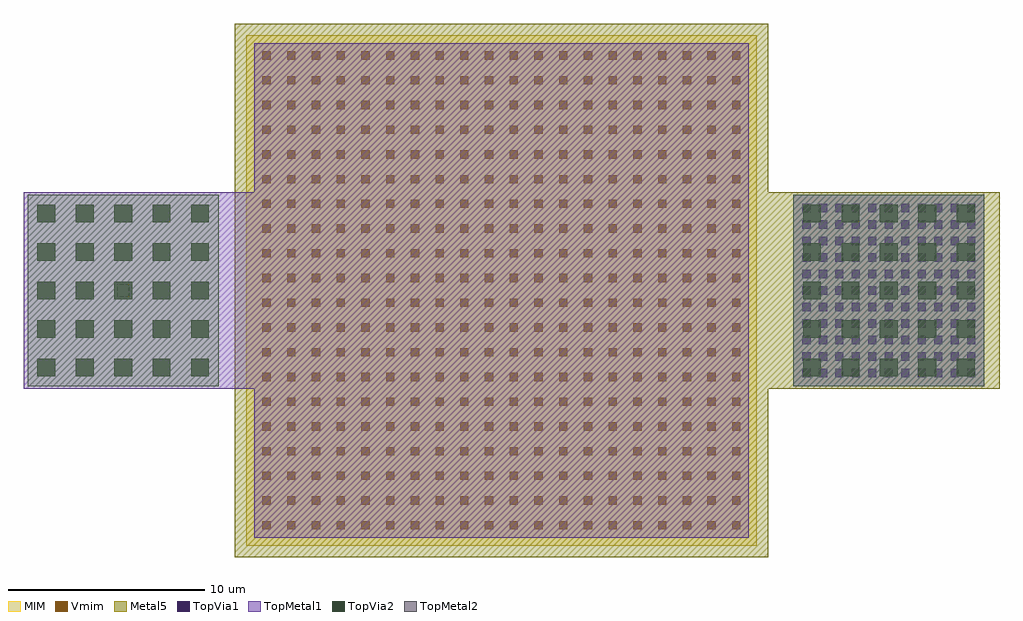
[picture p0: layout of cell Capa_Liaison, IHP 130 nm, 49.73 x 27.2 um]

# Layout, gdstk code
from math import pi, radians
import gdstk
lib = gdstk.Library(unit=1e-6, precision=1e-09)
def R(c, l, rs):  # rectangles x0, y0, x1, y1
    for r in rs: c.add(gdstk.rectangle(r[:2], r[2:], *l))
def A(c, l, x, y, w, h, nx, ny, dx, dy):  # array of equal rectangles
    R(c, l, [(x+i*dx, y+j*dy, x+i*dx+w, y+j*dy+h) for i in range(nx) for j in range(ny)])
MIM = (36, 0)
Metal5 = (67, 0)
TopVia1 = (125, 0)
TopMetal1 = (126, 0)
Vmim = (129, 0)
TopVia2 = (133, 0)
TopMetal2 = (134, 0)

via_stack_16 = lib.new_cell('via_stack$16')
R(via_stack_16, Metal5, [(-4.51,-4.51,4.51,4.51), (-0.145,-0.145,0.145,0.145)])
A(via_stack_16, TopVia1, -4.41, -4.41, 0.42, 0.42, 11, 11, 0.84, 0.84)
R(via_stack_16, TopMetal1, [(-4.87,-4.87,4.87,4.87), (-4.83,-4.83,4.83,4.83)])
A(via_stack_16, TopVia2, -4.37, -4.37, 0.9, 0.9, 5, 5, 1.96, 1.96)
R(via_stack_16, TopMetal2, [(-4.87,-4.87,4.87,4.87)])

via_stack = lib.new_cell('via_stack')
R(via_stack, Metal5, [(-0.31,-0.31,0.31,0.31)])
R(via_stack, TopMetal1, [(-4.87,-4.87,4.87,4.87), (-0.82,-0.82,0.82,0.82)])
A(via_stack, TopVia2, -4.37, -4.37, 0.9, 0.9, 5, 5, 1.96, 1.96)
R(via_stack, TopMetal2, [(-4.87,-4.87,4.87,4.87)])

cmim_6 = lib.new_cell('cmim$6')
R(cmim_6, MIM, [(0,0,26,26)])
R(cmim_6, Metal5, [(-0.6,-0.6,26.6,26.6)])
R(cmim_6, TopMetal1, [(0.395,0.395,25.595,25.595)])
A(cmim_6, Vmim, 0.815, 0.815, 0.42, 0.42, 20, 20, 1.26, 1.26)

capa_liaison = lib.new_cell('Capa_Liaison')
R(capa_liaison, Metal5, [(6.3,-14.505,18.075,-4.505)])
R(capa_liaison, TopMetal1, [(-31.66,-14.505,-19.905,-4.505)])
capa_liaison.add(gdstk.Reference(via_stack_16, (12.435,-9.505), rotation=3*pi/2))
capa_liaison.add(gdstk.Reference(via_stack, (-26.58,-9.505), rotation=3*pi/2))
capa_liaison.add(gdstk.Reference(cmim_6, (-20.3,3.495), rotation=3*pi/2))

lib.write_gds('Capa_Liaison.gds')
